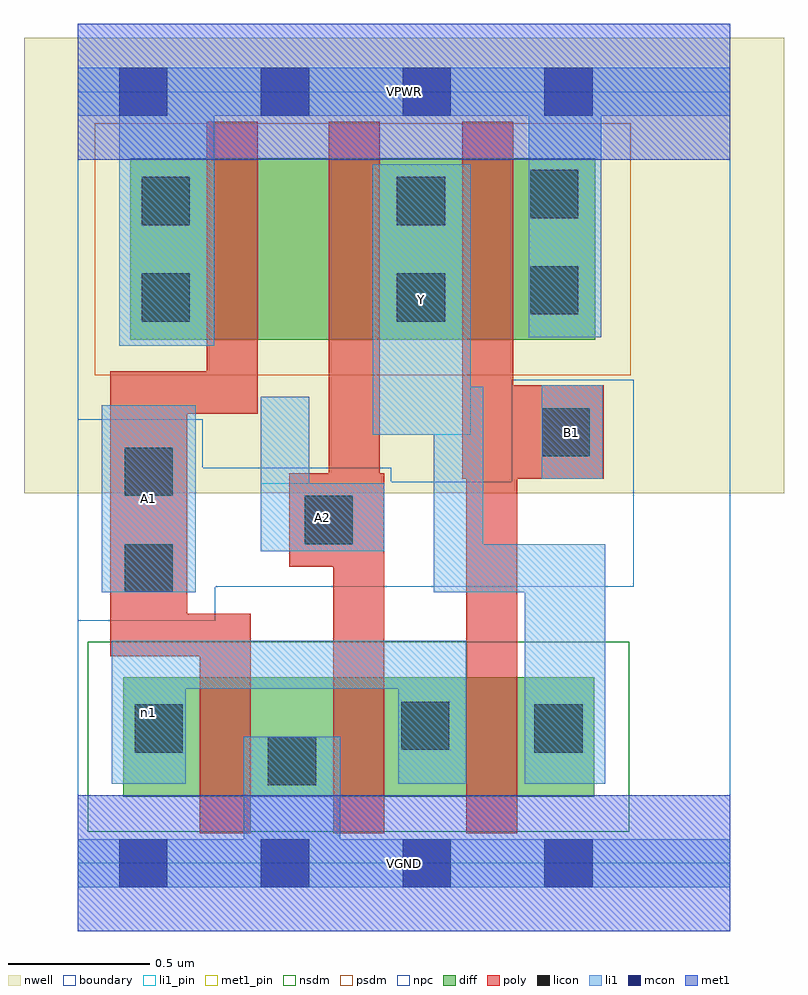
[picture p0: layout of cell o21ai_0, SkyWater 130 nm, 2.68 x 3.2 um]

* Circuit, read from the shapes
.subckt o21ai_0 A1 A2 B1 VGND VPWR Y n1
XM1 VGND A1 n1 VSUBS sky130_fd_pr__nfet_01v8 w=0.42 l=0.18
XM2 n1 A2 VGND VSUBS sky130_fd_pr__nfet_01v8 w=0.42 l=0.18
XM3 Y B1 n1 VSUBS sky130_fd_pr__nfet_01v8 w=0.42 l=0.18
XM4 n2 A1 VPWR n3 sky130_fd_pr__pfet_01v8 w=0.64 l=0.18
XM5 Y A2 n2 n3 sky130_fd_pr__pfet_01v8 w=0.64 l=0.18
XM6 VPWR B1 Y n3 sky130_fd_pr__pfet_01v8 w=0.64 l=0.18
.ends

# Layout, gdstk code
import gdstk
lib = gdstk.Library(unit=1e-6, precision=1e-09)
def R(c, l, rs):  # rectangles x0, y0, x1, y1
    for r in rs: c.add(gdstk.rectangle(r[:2], r[2:], *l))
def A(c, l, x, y, w, h, nx, ny, dx, dy):  # array of equal rectangles
    R(c, l, [(x+i*dx, y+j*dy, x+i*dx+w, y+j*dy+h) for i in range(nx) for j in range(ny)])
nwell = (64, 20)
diff = (65, 20)
poly = (66, 20)
licon = (66, 44)
li1_pin = (67, 16)
li1 = (67, 20)
mcon = (67, 44)
met1_pin = (68, 16)
met1 = (68, 20)
nsdm = (93, 44)
psdm = (94, 20)
npc = (95, 20)
boundary = (235, 4)

o21ai_0 = lib.new_cell('o21ai_0')
R(o21ai_0, nwell, [(-0.19,1.305,2.49,2.91), (0,1.305,2.3,2.91)])
R(o21ai_0, diff, [(0.16,0.235,1.82,0.655), (0.185,1.845,1.825,2.485)])
R(o21ai_0, poly, [(0.43,0.105,0.61,0.88), (0.9,0.105,1.08,1.375), (1.37,0.105,1.55,1.685), (0.115,0.73,0.385,1.735), (0.115,0.73,0.61,0.88), (0.745,1.045,1.08,1.375), (0.885,1.045,1.065,2.615), (1.355,1.355,1.535,2.615), (1.355,1.355,1.855,1.685), (0.115,1.585,0.635,1.735), (0.455,1.585,0.635,2.615)])
R(o21ai_0, licon, [(0.67,0.275,0.84,0.445), (0.2,0.39,0.37,0.56), (1.61,0.39,1.78,0.56), (1.14,0.4,1.31,0.57), (0.165,0.955,0.335,1.125), (0.8,1.125,0.97,1.295), (0.165,1.295,0.335,1.465), (1.635,1.435,1.805,1.605), (0.225,1.91,0.395,2.08), (1.125,1.91,1.295,2.08), (1.595,1.935,1.765,2.105), (0.225,2.25,0.395,2.42), (1.125,2.25,1.295,2.42), (1.595,2.275,1.765,2.445)])
R(o21ai_0, li1_pin, [(0.085,0.955,0.415,1.615), (0.645,1.1,1.08,1.34), (1.635,1.355,1.85,1.685), (1.04,1.51,1.385,2.465)])
R(o21ai_0, li1, [(0,-0.085,2.3,0.085), (0.585,-0.085,0.925,0.445), (0.12,0.28,0.38,0.785), (1.13,0.28,1.37,0.785), (1.575,0.28,1.86,1.125), (0.12,0.615,1.37,0.785), (0.085,0.955,0.415,1.615), (1.255,0.955,1.43,1.68), (1.255,0.955,1.86,1.125), (0.645,1.1,1.08,1.34), (0.645,1.1,0.815,1.645), (1.635,1.355,1.85,1.685), (1.04,1.51,1.385,2.465), (0.145,1.825,0.48,2.805), (1.59,1.855,1.845,2.805), (0,2.635,2.3,2.805)])
A(o21ai_0, mcon, 0.145, -0.085, 0.17, 0.17, 4, 2, 0.5, 2.72)
R(o21ai_0, met1_pin, [(0,-0.24,2.3,0.24), (0,2.48,2.3,2.96)])
R(o21ai_0, met1, [(0,-0.24,2.3,0.24), (0,2.48,2.3,2.96)])
R(o21ai_0, nsdm, [(0.035,0.11,1.945,0.78)])
R(o21ai_0, psdm, [(0.06,1.72,1.95,2.61)])
R(o21ai_0, npc, [(0,0.855,0.44,1.565), (0,0.855,0.485,1.395), (0,0.975,1.96,1.345), (0,0.975,1.105,1.395), (1.53,0.975,1.96,1.705)])
R(o21ai_0, boundary, [(0,0,2.3,2.72)])
o21ai_0.add(gdstk.Label('A1', (0.25,1.285), layer=67, texttype=5))
o21ai_0.add(gdstk.Label('A2', (0.862,1.22), layer=67, texttype=5))
o21ai_0.add(gdstk.Label('B1', (1.742,1.52), layer=67, texttype=5))
o21ai_0.add(gdstk.Label('Y', (1.212,1.987), layer=67, texttype=5))
o21ai_0.add(gdstk.Label('n1', (0.25,0.532), layer=67, texttype=5))
o21ai_0.add(gdstk.Label('VPWR', (1.15,2.72), layer=68, texttype=5))
o21ai_0.add(gdstk.Label('VGND', (1.15,0), layer=68, texttype=5))
o21ai_0.add(gdstk.Label('A1', (0.25,1.285), layer=67, texttype=16))
o21ai_0.add(gdstk.Label('A2', (0.862,1.22), layer=67, texttype=16))
o21ai_0.add(gdstk.Label('B1', (1.742,1.52), layer=67, texttype=16))
o21ai_0.add(gdstk.Label('Y', (1.212,1.987), layer=67, texttype=16))
o21ai_0.add(gdstk.Label('VPWR', (1.15,2.72), layer=68, texttype=16))
o21ai_0.add(gdstk.Label('VGND', (1.15,0), layer=68, texttype=16))

lib.write_gds('o21ai_0.gds')
